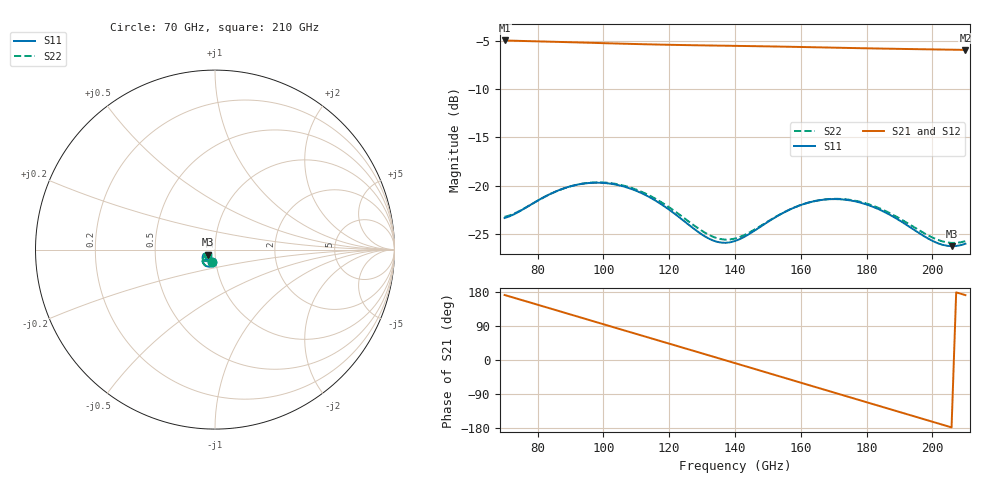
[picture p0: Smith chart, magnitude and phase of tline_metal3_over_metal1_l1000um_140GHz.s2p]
#  GHZ S DB R 50
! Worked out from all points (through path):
!   101 points, 70 GHz to 210 GHz, reference 50 ohm
!   highest |S21| = -4.99 dB at 70 GHz (marker M1); lowest = -6.0 dB at 210 GHz (marker M2)
!   group delay of S21, straight-line fit = 7.15 ps
!   lowest |S11| = -26.3 dB at 205.8 GHz (marker M3), VSWR 1.10, Z = 46.1 - j2.64 ohm
!   |S11| at or under -10 dB: start of sweep to end of sweep
!   |S22| runs from -25.9 to -19.7 dB; largest |S21 - S12| = 5.8e-14
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70  -23.35 -101.9  -4.99 171.5  -4.99 171.5  -23.23 -104.6
75.6  -22.45 -97.0  -5.04 157.2  -5.04 157.2  -22.43 -99.4
81.2  -21.33 -98.0  -5.09 142.8  -5.09 142.8  -21.35 -100.0
88.2  -20.26 -104.7  -5.15 124.8  -5.15 124.8  -20.27 -106.2
93.8  -19.80 -112.3  -5.21 110.4  -5.21 110.4  -19.79 -113.6
99.4  -19.71 -120.8  -5.26 96.0  -5.26 96.0  -19.67 -121.8
105  -19.99 -129.2  -5.31 81.6  -5.31 81.6  -19.91 -130.1
110.6  -20.63 -137.0  -5.36 67.3  -5.36 67.3  -20.50 -137.8
117.6  -21.93 -144.4  -5.42 49.3  -5.42 49.3  -21.72 -145.2
128.8  -24.79 -144.9  -5.49 20.6  -5.49 20.6  -24.42 -146.5
134.4  -25.81 -137.1  -5.52 6.2  -5.52 6.2  -25.43 -139.7
140  -25.74 -127.1  -5.55 -8.2  -5.55 -8.2  -25.48 -130.5
151.2  -23.50 -119.9  -5.61 -37.1  -5.61 -37.1  -23.46 -122.9
158.2  -22.24 -124.3  -5.65 -55.2  -5.65 -55.2  -22.24 -126.8
163.8  -21.64 -130.2  -5.69 -69.7  -5.69 -69.7  -21.63 -132.3
169.4  -21.40 -137.0  -5.73 -84.1  -5.73 -84.1  -21.37 -138.8
175  -21.53 -143.9  -5.77 -98.6  -5.77 -98.6  -21.48 -145.5
180.6  -22.03 -150.2  -5.80 -113.0  -5.80 -113.0  -21.93 -151.5
187.6  -23.13 -155.8  -5.84 -131.0  -5.84 -131.0  -22.95 -157.0
197.4  -25.23 -155.2  -5.90 -156.2  -5.90 -156.2  -24.91 -156.9
205.8  -26.27 -144.0  -5.94 -177.9  -5.94 -177.9  -25.93 -146.9
210  -26.02 -137.4  -5.96 171.2  -5.96 171.2  -25.75 -140.7
